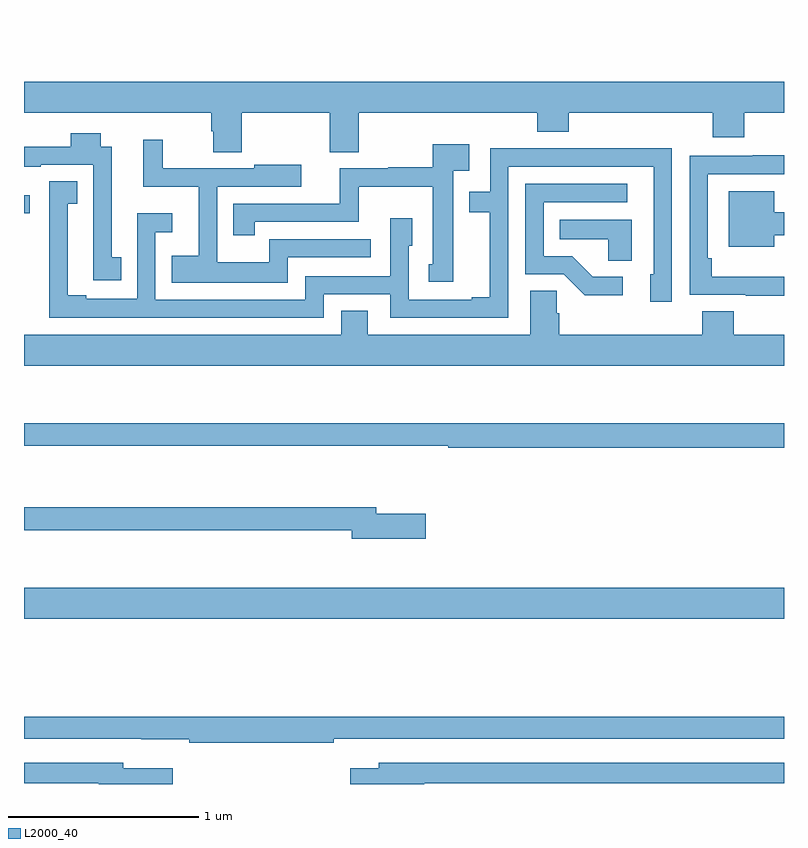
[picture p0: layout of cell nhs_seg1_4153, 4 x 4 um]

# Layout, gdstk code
import gdstk
lib = gdstk.Library(unit=1e-6, precision=1e-09)
def R(c, l, rs):  # rectangles x0, y0, x1, y1
    for r in rs: c.add(gdstk.rectangle(r[:2], r[2:], *l))
def P(c, l, *ps):  # polygons
    for p in ps: c.add(gdstk.Polygon(p, *l))
L2000_40 = (2000, 40)

nhs_seg1_4153 = lib.new_cell('nhs_seg1_4153')
R(nhs_seg1_4153, L2000_40, [(337,549.068,341,549.232), (337,551.202,337.03,551.299), (337,552.198,341,552.199)])
P(nhs_seg1_4153, L2000_40, [(338.145,551.732),(338.608,551.732),(338.608,551.524),(338.763,551.524),(338.763,551.732),(339.701,551.732),(339.701,551.633),(339.866,551.633),(339.866,551.732),(340.625,551.732),(340.625,551.604),(340.79,551.604),(340.79,551.732),(341,551.732),(341,551.896),(337,551.896),(337,551.732),(337.985,551.732),(337.985,551.634),(337.997,551.634),(337.997,551.524),(338.145,551.524)],
  [(337.511,550.971),(337.462,550.971),(337.462,551.553),(337.405,551.553),(337.405,551.623),(337.246,551.623),(337.246,551.554),(337,551.554),(337,551.447),(337.089,551.447),(337.089,551.457),(337.365,551.457),(337.365,551.174),(337.364,551.174),(337.364,550.851),(337.511,550.851)],
  [(338.388,550.971),(338.824,550.971),(338.824,551.067),(338.395,551.067),(338.395,551.066),(338.292,551.066),(338.292,550.945),(338.016,550.945),(338.016,551.343),(338.458,551.343),(338.458,551.458),(338.213,551.458),(338.213,551.439),(337.73,551.439),(337.73,551.59),(337.628,551.59),(337.628,551.342),(337.919,551.342),(337.919,550.978),(337.777,550.978),(337.777,550.838),(338.388,550.838)],
  [(339.259,551.33),(339.258,551.33),(339.258,551.426),(339.343,551.426),(339.343,551.566),(339.15,551.566),(339.15,551.444),(338.916,551.444),(338.916,551.439),(338.663,551.439),(338.663,551.253),(338.101,551.253),(338.101,551.088),(338.214,551.088),(338.214,551.157),(338.761,551.157),(338.761,551.342),(339.152,551.342),(339.152,550.935),(339.131,550.935),(339.131,550.842),(339.259,550.842)],
  [(337.589,550.653),(338.577,550.653),(338.577,550.776),(338.928,550.776),(338.928,550.653),(339.549,550.653),(339.549,551.448),(340.314,551.448),(340.314,550.881),(340.295,550.881),(340.295,550.737),(340.41,550.737),(340.41,551.546),(339.949,551.546),(339.949,551.544),(339.453,551.544),(339.453,551.316),(339.344,551.316),(339.344,551.208),(339.452,551.208),(339.452,550.762),(339.356,550.762),(339.356,550.749),(339.024,550.749),(339.024,551.031),(339.043,551.031),(339.043,551.176),(338.928,551.176),(338.928,550.872),(338.481,550.872),(338.481,550.749),(337.692,550.749),(337.692,551.102),(337.78,551.102),(337.78,551.203),(337.596,551.203),(337.596,550.753),(337.327,550.753),(337.327,550.771),(337.231,550.771),(337.231,551.254),(337.28,551.254),(337.28,551.372),(337.134,551.372),(337.134,551.105),(337.132,551.105),(337.132,550.652),(337.589,550.652)],
  [(341,550.87),(340.619,550.87),(340.619,550.966),(340.599,550.966),(340.599,551.409),(341,551.409),(341,551.509),(340.835,551.509),(340.835,551.505),(340.503,551.505),(340.503,550.773),(340.799,550.773),(340.799,550.769),(341,550.769)],
  [(340.15,550.869),(339.993,550.869),(339.885,550.977),(339.735,550.977),(339.735,551.262),(340.174,551.262),(340.174,551.358),(339.639,551.358),(339.639,550.881),(339.84,550.881),(339.95,550.772),(340.15,550.772)],
  [(340.948,551.087),(341,551.087),(341,551.209),(340.948,551.209),(340.948,551.32),(340.709,551.32),(340.709,551.027),(340.948,551.027)],
  [(340.198,551.17),(339.82,551.17),(339.82,551.066),(340.076,551.066),(340.076,550.954),(340.198,550.954)],
  [(341,550.564),(340.736,550.564),(340.736,550.688),(340.571,550.688),(340.571,550.564),(339.818,550.564),(339.818,550.676),(339.803,550.676),(339.803,550.796),(339.665,550.796),(339.665,550.564),(338.809,550.564),(338.809,550.691),(338.669,550.691),(338.669,550.564),(337,550.564),(337,550.4),(341,550.4)],
  [(341,550.099),(337,550.099),(337,549.978),(339.232,549.978),(339.232,549.97),(341,549.97)],
  [(339.115,549.621),(338.854,549.621),(338.854,549.655),(337,549.655),(337,549.534),(338.726,549.534),(338.726,549.491),(339.115,549.491)],
  [(338.63,548.436),(341,548.436),(341,548.552),(337,548.552),(337,548.436),(337.618,548.436),(337.618,548.435),(337.87,548.435),(337.87,548.416),(338.63,548.416)],
  [(337.783,548.281),(337.522,548.281),(337.522,548.31),(337,548.31),(337,548.202),(337.394,548.202),(337.394,548.199),(337.783,548.199)],
  [(339.106,548.202),(341,548.202),(341,548.31),(338.867,548.31),(338.867,548.281),(338.718,548.281),(338.718,548.199),(339.106,548.199)])

lib.write_gds('nhs_seg1_4153.gds')
